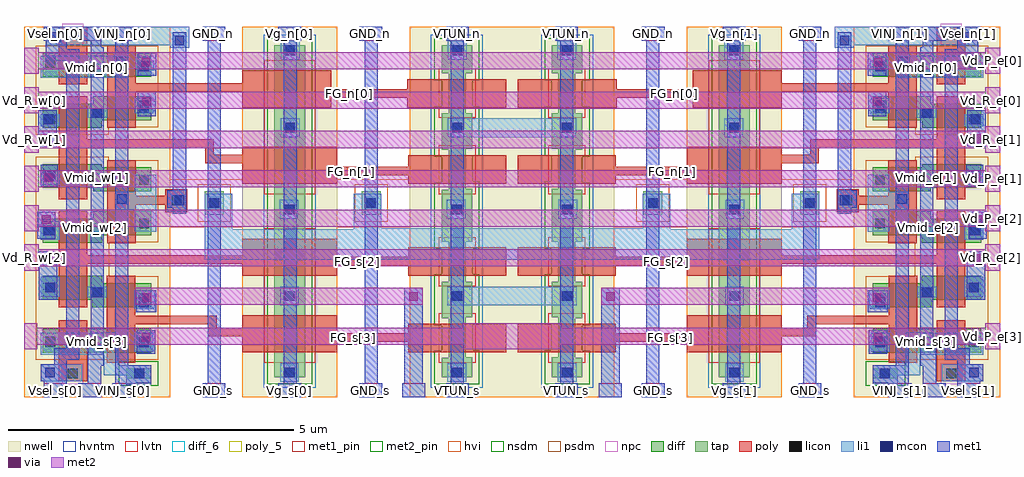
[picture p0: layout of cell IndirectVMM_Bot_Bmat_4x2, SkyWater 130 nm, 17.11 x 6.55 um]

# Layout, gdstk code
import gdstk
lib = gdstk.Library(unit=1e-6, precision=1e-09)
def R(c, l, rs):  # rectangles x0, y0, x1, y1
    for r in rs: c.add(gdstk.rectangle(r[:2], r[2:], *l))
def A(c, l, x, y, w, h, nx, ny, dx, dy):  # array of equal rectangles
    R(c, l, [(x+i*dx, y+j*dy, x+i*dx+w, y+j*dy+h) for i in range(nx) for j in range(ny)])
nwell = (64, 20)
diff_6 = (65, 6)
diff = (65, 20)
tap = (65, 44)
poly_5 = (66, 5)
poly = (66, 20)
licon = (66, 44)
li1 = (67, 20)
mcon = (67, 44)
met1_pin = (68, 16)
met1 = (68, 20)
via = (68, 44)
met2_pin = (69, 16)
met2 = (69, 20)
hvi = (75, 20)
nsdm = (93, 44)
psdm = (94, 20)
npc = (95, 20)
hvntm = (125, 20)
lvtn = (125, 44)

indirectvmm_bot_bmat_4x2 = lib.new_cell('IndirectVMM_Bot_Bmat_4x2')
R(indirectvmm_bot_bmat_4x2, nwell, [(-0.03,0.01,2.53,6.51), (3.8,0.01,5.46,6.51), (6.73,0.01,10.32,6.51), (11.59,0.01,13.25,6.51), (14.52,0.01,17.08,6.51)])
R(indirectvmm_bot_bmat_4x2, diff_6, [(1.18,0.91,1.32,1.06), (15.73,0.91,15.87,1.06), (1.16,2.91,1.3,3.06), (15.75,2.91,15.89,3.06), (1.18,3.78,1.32,3.93), (15.73,3.78,15.87,3.93), (1.18,5.71,1.32,5.86), (15.73,5.71,15.87,5.86)])
R(indirectvmm_bot_bmat_4x2, diff, [(0.3,0.79,2.2,1.21), (14.85,0.79,16.75,1.21), (1.17,1.59,2.2,1.72), (14.85,1.59,15.88,1.72), (0.3,1.72,2.2,2.01), (14.85,1.72,16.75,2.01), (0.3,2.01,1.34,2.14), (15.71,2.01,16.75,2.14), (0.3,2.72,1.34,2.85), (15.71,2.72,16.75,2.85), (0.3,2.85,2.2,3.14), (14.85,2.85,16.75,3.14), (1.18,3.14,2.2,3.27), (14.85,3.14,15.87,3.27), (1.18,3.62,2.2,3.68), (14.85,3.62,15.87,3.68), (0.3,3.68,2.2,4.04), (14.85,3.68,16.75,4.04), (0.3,4.04,1.33,4.1), (15.72,4.04,16.75,4.1), (0.3,4.74,1.33,4.87), (15.72,4.74,16.75,4.87), (0.3,4.87,2.2,5.16), (14.85,4.87,16.75,5.16), (1.18,5.16,2.2,5.29), (14.85,5.16,15.87,5.29), (0.3,5.63,2.2,6.05), (14.85,5.63,16.75,6.05)])
R(indirectvmm_bot_bmat_4x2, tap, [(1.76,0.34,2.2,0.52), (14.85,0.34,15.29,0.52), (4.36,0.36,4.9,6.18), (7.29,0.36,7.83,0.7), (9.22,0.36,9.76,0.7), (12.15,0.36,12.69,6.18), (7.42,0.7,7.83,0.71), (9.22,0.7,9.63,0.71), (7.42,0.71,7.71,1.4), (9.34,0.71,9.63,1.4), (7.29,1.4,7.71,1.41), (9.34,1.4,9.76,1.41), (7.29,1.41,7.83,2.04), (9.22,1.41,9.76,2.04), (7.42,2.04,7.71,2.74), (9.34,2.04,9.63,2.74), (7.29,2.74,7.83,3.65), (9.22,2.74,9.76,3.65), (3.14,3.21,3.47,3.62), (5.89,3.21,6.22,3.62), (10.83,3.21,11.16,3.62), (13.58,3.21,13.91,3.62), (7.42,3.65,7.83,3.67), (9.22,3.65,9.63,3.67), (7.42,3.67,7.71,4.35), (9.34,3.67,9.63,4.35), (7.29,4.35,7.71,4.37), (9.34,4.35,9.76,4.37), (7.29,4.37,7.83,4.99), (9.22,4.37,9.76,4.99), (7.42,4.99,7.71,5.69), (9.34,4.99,9.63,5.69), (7.29,5.69,7.83,6.18), (9.22,5.69,9.76,6.18)])
R(indirectvmm_bot_bmat_4x2, poly_5, [(5.67,0.98,5.81,1.13), (11.24,0.98,11.38,1.13), (5.74,2.32,5.88,2.47), (11.17,2.32,11.31,2.47), (5.64,3.9,5.78,4.05), (11.27,3.9,11.41,4.05), (5.61,5.26,5.75,5.41), (11.3,5.26,11.44,5.41)])
R(indirectvmm_bot_bmat_4x2, poly, [(0.58,0.29,1.08,1.36), (15.97,0.29,16.47,1.36), (1.42,0.62,1.92,1.29), (15.13,0.62,15.63,1.29), (3.8,0.8,5.46,0.98), (6.71,0.8,8.42,0.98), (8.63,0.8,10.34,0.98), (11.59,0.8,13.25,0.98), (3.8,0.98,8.42,1.08), (8.63,0.98,13.25,1.08), (3.19,1.08,8.42,1.13), (8.63,1.08,13.86,1.13), (3.19,1.13,5.46,1.23), (6.71,1.13,8.42,1.3), (8.63,1.13,10.34,1.3), (11.59,1.13,13.86,1.23), (3.19,1.23,3.35,1.29), (3.8,1.23,5.46,1.45), (11.59,1.23,13.25,1.45), (13.7,1.23,13.86,1.29), (1.42,1.29,3.35,1.44), (13.7,1.29,15.63,1.44), (1.42,1.44,1.92,2.14), (15.13,1.44,15.63,2.14), (0.58,1.59,1.08,2.35), (15.97,1.59,16.47,2.35), (3.8,2.14,5.46,2.32), (6.71,2.14,8.42,2.32), (8.63,2.14,10.34,2.32), (11.59,2.14,13.25,2.32), (3.8,2.32,8.42,2.35), (8.63,2.32,13.25,2.35), (0.58,2.35,8.42,2.47), (8.63,2.35,16.47,2.47), (0.58,2.47,5.46,2.5), (6.71,2.47,8.42,2.64), (8.63,2.47,10.34,2.64), (11.59,2.47,16.47,2.5), (0.58,2.5,1.08,3.27), (3.8,2.5,5.46,2.79), (11.59,2.5,13.25,2.79), (15.97,2.5,16.47,3.27), (1.43,2.71,1.93,3.39), (15.12,2.71,15.62,3.39), (2.45,3.25,2.83,3.39), (14.22,3.25,14.6,3.39), (1.43,3.39,2.83,3.54), (14.22,3.39,15.62,3.54), (0.58,3.48,1.08,4.38), (15.97,3.48,16.47,4.38), (1.43,3.54,1.93,4.17), (2.45,3.54,2.83,3.66), (14.22,3.54,14.6,3.66), (15.12,3.54,15.62,4.17), (3.8,3.75,5.46,3.9), (6.71,3.75,8.42,3.9), (8.63,3.75,10.34,3.9), (11.59,3.75,13.25,3.9), (3.8,3.9,8.42,4.05), (8.63,3.9,13.25,4.05), (3.8,4.05,5.46,4.11), (6.71,4.05,8.42,4.25), (8.63,4.05,10.34,4.25), (11.59,4.05,13.25,4.11), (3.15,4.11,5.46,4.26), (11.59,4.11,13.9,4.26), (3.15,4.26,3.3,4.38), (3.8,4.26,5.46,4.4), (11.59,4.26,13.25,4.4), (13.75,4.26,13.9,4.38), (0.58,4.38,3.3,4.53), (13.75,4.38,16.47,4.53), (0.58,4.53,1.08,5.29), (15.97,4.53,16.47,5.29), (1.43,4.74,1.93,5.37), (15.12,4.74,15.62,5.37), (3.8,5.09,5.36,5.26), (6.69,5.09,8.42,5.26), (8.63,5.09,10.36,5.26), (11.69,5.09,13.25,5.26), (3.8,5.26,8.42,5.37), (8.63,5.26,13.25,5.37), (1.43,5.37,8.42,5.41), (8.63,5.37,15.62,5.41), (1.43,5.41,5.36,5.52), (6.69,5.41,8.42,5.59), (8.63,5.41,10.36,5.59), (11.69,5.41,15.62,5.52), (0.58,5.5,1.08,6.51), (15.97,5.5,16.47,6.51), (1.43,5.52,1.93,6.18), (3.8,5.52,5.36,5.74), (11.69,5.52,13.25,5.74), (15.12,5.52,15.62,6.18)])
R(indirectvmm_bot_bmat_4x2, licon, [(0.74,0.34,0.91,0.51), (1.905,0.34,2.075,0.51), (14.975,0.34,15.145,0.51), (16.14,0.34,16.31,0.51), (4.54,0.36,4.71,0.53), (7.47,0.36,7.64,0.53), (9.41,0.36,9.58,0.53), (12.34,0.36,12.51,0.53), (1.985,0.89,2.155,1.06), (14.895,0.89,15.065,1.06), (0.345,0.9,0.515,1.07), (16.535,0.9,16.705,1.07), (1.985,1.66,2.155,1.83), (14.895,1.66,15.065,1.83), (4.54,1.7,4.71,1.87), (7.47,1.7,7.64,1.87), (9.41,1.7,9.58,1.87), (12.34,1.7,12.51,1.87), (1.165,1.76,1.335,1.93), (15.715,1.76,15.885,1.93), (0.345,1.85,0.515,2.02), (16.535,1.85,16.705,2.02), (0.345,2.85,0.515,3.02), (16.535,2.85,16.705,3.02), (1.99,2.97,2.16,3.14), (14.89,2.97,15.06,3.14), (4.53,3.22,4.7,3.39), (7.46,3.22,7.63,3.39), (9.42,3.22,9.59,3.39), (12.35,3.22,12.52,3.39), (3.22,3.33,3.39,3.5), (5.97,3.33,6.14,3.5), (10.91,3.33,11.08,3.5), (13.66,3.33,13.83,3.5), (2.56,3.38,2.73,3.55), (14.32,3.38,14.49,3.55), (1.99,3.74,2.16,3.91), (14.89,3.74,15.06,3.91), (0.345,3.82,0.515,3.99), (16.535,3.82,16.705,3.99), (4.55,4.65,4.72,4.82), (7.48,4.65,7.65,4.82), (9.4,4.65,9.57,4.82), (12.33,4.65,12.5,4.82), (0.345,4.8,0.515,4.97), (16.535,4.8,16.705,4.97), (1.165,4.91,1.335,5.08), (15.715,4.91,15.885,5.08), (1.99,4.99,2.16,5.16), (14.89,4.99,15.06,5.16), (1.99,5.73,2.16,5.9), (14.89,5.73,15.06,5.9), (0.345,5.79,0.515,5.96), (16.535,5.79,16.705,5.96), (4.55,6.01,4.72,6.18), (7.48,6.01,7.65,6.18), (9.4,6.01,9.57,6.18), (12.33,6.01,12.5,6.18), (0.74,6.29,0.91,6.46), (16.14,6.29,16.31,6.46)])
R(indirectvmm_bot_bmat_4x2, li1, [(1.76,0.23,2.2,0.4), (14.85,0.23,15.29,0.4), (4.46,0.28,4.79,0.61), (7.39,0.28,7.72,0.61), (9.33,0.28,9.66,0.61), (12.26,0.28,12.59,0.61), (0.26,0.29,0.99,0.59), (16.06,0.29,16.79,0.59), (1.37,0.4,2.2,0.57), (14.85,0.4,15.68,0.57), (1.37,0.57,1.62,0.76), (15.43,0.57,15.68,0.76), (0.26,0.76,1.62,1.14), (15.43,0.76,16.79,1.14), (1.9,0.81,2.24,1.14), (14.81,0.81,15.15,1.14), (1.37,1.14,1.62,1.15), (15.43,1.14,15.68,1.15), (1.9,1.56,2.25,1.59), (14.8,1.56,15.15,1.59), (1.9,1.59,2.26,1.89), (14.79,1.59,15.15,1.89), (4.46,1.62,4.79,1.95), (7.39,1.62,9.66,1.95), (12.26,1.62,12.59,1.95), (1.08,1.76,1.42,1.95), (15.63,1.76,15.97,1.95), (0.26,1.77,0.6,2.12), (16.45,1.77,16.79,2.12), (3.14,2.42,13.91,2.96), (0.26,2.77,0.6,3.1), (16.45,2.77,16.79,3.1), (1.91,2.91,2.29,3.3), (14.76,2.91,15.14,3.3), (3.14,2.96,3.62,3.58), (5.75,2.96,11.3,2.97), (13.43,2.96,13.91,3.58), (5.75,2.97,6.23,3.58), (10.82,2.97,11.3,3.58), (4.45,3.14,4.78,3.47), (7.38,3.14,7.71,3.47), (9.34,3.14,9.67,3.47), (12.27,3.14,12.6,3.47), (2.48,3.26,2.81,3.64), (14.24,3.26,14.57,3.64), (1.57,3.3,2.29,3.61), (14.76,3.3,15.48,3.61), (1.91,3.61,2.29,3.91), (14.76,3.61,15.14,3.91), (0.26,3.74,0.6,3.99), (16.45,3.74,16.79,3.99), (4.47,4.57,4.8,4.9), (7.4,4.57,9.65,4.9), (12.25,4.57,12.58,4.9), (0.26,4.76,0.6,4.97), (16.45,4.76,16.79,4.97), (1.08,4.91,1.43,5.08), (15.62,4.91,15.97,5.08), (1.91,4.99,2.24,5.03), (14.81,4.99,15.14,5.03), (1.91,5.03,2.28,5.2), (14.77,5.03,15.14,5.2), (1.91,5.2,2.24,5.25), (14.81,5.2,15.14,5.25), (0.26,5.61,1.76,6), (15.29,5.61,16.79,6), (1.93,5.65,2.2,5.74), (14.85,5.65,15.12,5.74), (1.93,5.74,2.25,5.91), (14.8,5.74,15.12,5.91), (1.93,5.91,2.2,5.98), (14.85,5.91,15.12,5.98), (4.47,5.93,4.8,6.26), (7.4,5.93,7.73,6.26), (9.32,5.93,9.65,6.26), (12.25,5.93,12.58,6.26), (2.53,6.14,2.87,6.18), (14.18,6.14,14.52,6.18), (0.36,6.18,2.87,6.51), (14.18,6.18,16.69,6.51)])
R(indirectvmm_bot_bmat_4x2, mcon, [(1.905,0.34,2.075,0.51), (14.975,0.34,15.145,0.51), (0.34,0.36,0.51,0.53), (4.55,0.36,4.72,0.53), (7.48,0.36,7.65,0.53), (9.4,0.36,9.57,0.53), (12.33,0.36,12.5,0.53), (16.54,0.36,16.71,0.53), (1.985,0.9,2.155,1.07), (14.895,0.9,15.065,1.07), (1.985,1.59,2.155,1.76), (14.895,1.59,15.065,1.76), (4.55,1.7,4.72,1.87), (7.48,1.7,7.65,1.87), (9.4,1.7,9.57,1.87), (12.33,1.7,12.5,1.87), (1.17,1.76,1.34,1.93), (15.71,1.76,15.88,1.93), (0.345,1.85,0.515,2.02), (16.535,1.85,16.705,2.02), (0.32,2.85,0.49,3.02), (16.56,2.85,16.73,3.02), (4.55,3.22,4.72,3.39), (7.48,3.22,7.65,3.39), (9.4,3.22,9.57,3.39), (12.33,3.22,12.5,3.39), (3.22,3.33,3.39,3.5), (5.97,3.33,6.14,3.5), (10.91,3.33,11.08,3.5), (13.66,3.33,13.83,3.5), (2.61,3.38,2.78,3.55), (14.27,3.38,14.44,3.55), (1.6,3.4,1.77,3.57), (15.28,3.4,15.45,3.57), (0.33,3.81,0.5,3.98), (16.55,3.81,16.72,3.98), (4.55,4.65,4.72,4.82), (7.48,4.65,7.65,4.82), (9.4,4.65,9.57,4.82), (12.33,4.65,12.5,4.82), (0.315,4.8,0.485,4.97), (16.565,4.8,16.735,4.97), (1.17,4.91,1.34,5.08), (15.71,4.91,15.88,5.08), (1.99,5.04,2.16,5.21), (14.89,5.04,15.06,5.21), (1.99,5.73,2.16,5.9), (14.89,5.73,15.06,5.9), (1.59,5.81,1.76,5.98), (15.29,5.81,15.46,5.98), (4.55,6.01,4.72,6.18), (7.48,6.01,7.65,6.18), (9.4,6.01,9.57,6.18), (12.33,6.01,12.5,6.18), (2.61,6.18,2.78,6.35), (14.27,6.18,14.44,6.35), (0.45,6.24,0.62,6.41), (16.43,6.24,16.6,6.41)])
R(indirectvmm_bot_bmat_4x2, met1_pin, [(0.32,0.01,0.72,0.26), (0.32,0.01,0.72,0.26), (0.92,0.01,1.32,0.26), (0.92,0.01,1.32,0.26), (1.52,0.01,1.92,0.26), (1.52,0.01,1.92,0.26), (3.1,0.01,3.5,0.26), (4.43,0.01,4.83,0.26), (4.43,0.01,4.83,0.26), (5.85,0.01,6.25,0.26), (6.6,0.01,7,0.26), (7.37,0.01,7.77,0.26), (9.28,0.01,9.68,0.26), (10.05,0.01,10.45,0.26), (10.8,0.01,11.2,0.26), (12.22,0.01,12.62,0.26), (12.22,0.01,12.62,0.26), (13.55,0.01,13.95,0.26), (15.13,0.01,15.53,0.26), (15.13,0.01,15.53,0.26), (15.73,0.01,16.13,0.26), (15.73,0.01,16.13,0.26), (16.33,0.01,16.73,0.26), (16.33,0.01,16.73,0.26), (0.32,6.26,0.72,6.51), (0.32,6.26,0.72,6.51), (0.92,6.26,1.32,6.51), (0.92,6.26,1.32,6.51), (1.52,6.26,1.92,6.51), (1.52,6.26,1.92,6.51), (3.1,6.26,3.5,6.51), (4.43,6.26,4.83,6.51), (4.43,6.26,4.83,6.51), (5.85,6.26,6.25,6.51), (7.37,6.26,7.77,6.51), (9.28,6.26,9.68,6.51), (10.8,6.26,11.2,6.51), (12.22,6.26,12.62,6.51), (12.22,6.26,12.62,6.51), (13.55,6.26,13.95,6.51), (15.13,6.26,15.53,6.51), (15.13,6.26,15.53,6.51), (15.73,6.26,16.13,6.51), (15.73,6.26,16.13,6.51), (16.33,6.26,16.73,6.51), (16.33,6.26,16.73,6.51)])
A(indirectvmm_bot_bmat_4x2, met1, 0.32, 6.26, 0.4, 0.25, 3, 1, 0.6, 0)
A(indirectvmm_bot_bmat_4x2, met1, 15.13, 6.26, 0.4, 0.25, 3, 1, 0.6, 0)
R(indirectvmm_bot_bmat_4x2, met1, [(0.32,0.01,0.72,0.29), (0.92,0.01,1.32,0.26), (1.52,0.01,1.92,0.26), (3.1,0.01,3.5,0.26), (4.43,0.01,4.83,0.26), (5.85,0.01,6.25,0.26), (6.6,0.01,7,0.26), (7.37,0.01,7.77,0.26), (9.28,0.01,9.68,0.26), (10.05,0.01,10.45,0.26), (10.8,0.01,11.2,0.26), (12.22,0.01,12.62,0.26), (13.55,0.01,13.95,0.26), (15.13,0.01,15.53,0.26), (15.73,0.01,16.13,0.26), (16.33,0.01,16.73,0.29), (1.09,0.26,1.32,0.56), (1.57,0.26,2.2,0.57), (3.19,0.26,3.42,6.26), (4.52,0.26,4.75,6.26), (5.94,0.26,6.17,6.26), (6.64,0.26,6.96,1.93), (7.45,0.26,7.68,6.26), (9.37,0.26,9.6,6.26), (10.09,0.26,10.41,1.93), (10.88,0.26,11.11,6.26), (12.3,0.26,12.53,6.26), (13.63,0.26,13.86,6.26), (14.85,0.26,15.48,0.57), (15.73,0.26,15.96,0.56), (0.26,0.29,0.72,0.59), (16.33,0.29,16.79,0.59), (1.09,0.56,1.37,0.94), (15.68,0.56,15.96,0.94), (1.57,0.57,1.8,5.75), (15.25,0.57,15.48,5.75), (0.5,0.59,0.72,0.67), (16.33,0.59,16.55,0.67), (0.5,0.67,0.94,0.87), (16.11,0.67,16.55,0.87), (1.95,0.77,2.27,1.19), (14.78,0.77,15.1,1.19), (0.71,0.87,0.94,5.91), (16.11,0.87,16.34,5.91), (1.14,0.94,1.37,6.15), (15.68,0.94,15.91,6.15), (1.94,1.5,2.29,1.89), (14.76,1.5,15.11,1.89), (0.23,1.72,0.55,2.57), (16.5,1.72,16.82,2.57), (0.2,2.79,0.52,3.26), (16.53,2.79,16.85,3.26), (2.58,3.23,2.81,3.33), (14.24,3.23,14.47,3.33), (2.48,3.33,2.81,3.64), (14.24,3.33,14.57,3.64), (2.58,3.64,2.81,6.41), (14.24,3.64,14.47,6.41), (0.26,3.7,0.56,4.09), (16.49,3.7,16.79,4.09), (0.22,4.41,0.54,5.04), (16.51,4.41,16.83,5.04), (1.96,4.94,2.28,5.37), (14.77,4.94,15.09,5.37), (1.96,5.65,2.29,6.05), (14.76,5.65,15.09,6.05), (1.55,5.75,1.8,6.02), (15.25,5.75,15.5,6.02), (0.35,5.91,0.94,6.11), (16.11,5.91,16.7,6.11), (1.57,6.02,1.8,6.26), (15.25,6.02,15.48,6.26), (0.35,6.11,0.72,6.26), (16.33,6.11,16.7,6.26), (1.14,6.15,1.32,6.26), (15.73,6.15,15.91,6.26), (3.1,6.26,3.5,6.51), (4.43,6.26,4.83,6.51), (5.85,6.26,6.25,6.51), (7.37,6.26,7.77,6.51), (9.28,6.26,9.68,6.51), (10.8,6.26,11.2,6.51), (12.22,6.26,12.62,6.51), (13.55,6.26,13.95,6.51)])
R(indirectvmm_bot_bmat_4x2, via, [(2.035,0.985,2.185,1.135), (14.865,0.985,15.015,1.135), (2.055,1.685,2.205,1.835), (14.845,1.685,14.995,1.835), (6.725,1.705,6.875,1.855), (10.175,1.705,10.325,1.855), (0.315,2.365,0.465,2.515), (16.585,2.365,16.735,2.515), (0.285,3.055,0.435,3.205), (16.615,3.055,16.765,3.205), (0.325,3.785,0.475,3.935), (16.575,3.785,16.725,3.935), (0.305,4.475,0.455,4.625), (16.595,4.475,16.745,4.625), (2.045,5.125,2.195,5.275), (14.855,5.125,15.005,5.275), (2.035,5.815,2.185,5.965), (14.865,5.815,15.015,5.965)])
A(indirectvmm_bot_bmat_4x2, met2_pin, -0.03, 2.23, 0.26, 0.46, 1, 6, 0, 0.69)
A(indirectvmm_bot_bmat_4x2, met2_pin, 16.82, 2.23, 0.26, 0.46, 1, 6, 0, 0.69)
R(indirectvmm_bot_bmat_4x2, met2_pin, [(-0.03,0.85,0.2,1.31), (16.82,0.85,17.08,1.31), (16.85,0.85,17.08,1.31)])
A(indirectvmm_bot_bmat_4x2, met2, -0.03, 2.31, 17.11, 0.3, 1, 6, 0, 0.69)
R(indirectvmm_bot_bmat_4x2, met2, [(-0.03,0.85,0.2,0.93), (7.66,0.85,9.39,0.93), (16.82,0.85,17.08,0.93), (-0.03,0.93,17.08,1.23), (-0.03,1.23,0.2,1.31), (7.65,1.23,9.4,1.31), (16.82,1.23,17.08,1.31), (1.92,1.63,6.96,1.93), (10.09,1.63,15.14,1.93), (-0.03,2.23,0.23,2.31), (16.82,2.23,17.08,2.31), (-0.03,2.61,0.23,2.69), (16.82,2.61,17.08,2.69), (-0.03,2.92,0.23,3), (16.82,2.92,17.08,3), (-0.03,3.3,0.23,3.38), (16.82,3.3,17.08,3.38), (-0.03,3.61,0.23,3.69), (16.82,3.61,17.08,3.69), (-0.03,3.99,0.23,4.07), (16.82,3.99,17.08,4.07), (-0.03,4.3,0.23,4.38), (16.82,4.3,17.08,4.38), (-0.03,4.68,0.23,4.76), (16.82,4.68,17.08,4.76), (-0.03,4.99,0.23,5.07), (16.82,4.99,17.08,5.07), (-0.03,5.37,0.23,5.45), (16.82,5.37,17.08,5.45), (-0.03,5.68,0.23,5.76), (16.82,5.68,17.08,5.76), (-0.03,6.06,0.23,6.14), (16.82,6.06,17.08,6.14)])
R(indirectvmm_bot_bmat_4x2, hvi, [(-0.03,0.01,2.53,2.995), (3.8,0.01,5.46,2.995), (6.73,0.01,10.32,2.995), (11.59,0.01,13.25,2.995), (14.52,0.01,17.08,2.995), (-0.03,2.995,17.08,3.835), (-0.03,3.835,2.53,6.51), (3.8,3.835,5.46,6.51), (6.73,3.835,10.32,6.51), (11.59,3.835,13.25,6.51), (14.52,3.835,17.08,6.51)])
R(indirectvmm_bot_bmat_4x2, nsdm, [(1.635,0.215,2.325,0.645), (14.725,0.215,15.415,0.645), (4.235,0.235,5.025,6.305), (7.165,0.235,7.955,0.825), (9.095,0.235,9.885,0.825), (12.025,0.235,12.815,6.305), (7.295,0.825,7.955,0.835), (9.095,0.825,9.755,0.835), (7.295,0.835,7.835,1.275), (9.215,0.835,9.755,1.275), (7.165,1.275,7.835,1.285), (9.215,1.275,9.885,1.285), (7.165,1.285,7.955,2.165), (9.095,1.285,9.885,2.165), (7.295,2.165,7.835,2.615), (9.215,2.165,9.755,2.615), (7.165,2.615,7.955,3.775), (9.095,2.615,9.885,3.775), (7.295,3.775,7.955,3.795), (9.095,3.775,9.755,3.795), (7.295,3.795,7.835,4.225), (9.215,3.795,9.755,4.225), (7.165,4.225,7.835,4.245), (9.215,4.225,9.885,4.245), (7.165,4.245,7.955,5.115), (9.095,4.245,9.885,5.115), (7.295,5.115,7.835,5.565), (9.215,5.115,9.755,5.565), (7.165,5.565,7.955,6.305), (9.095,5.565,9.885,6.305)])
R(indirectvmm_bot_bmat_4x2, psdm, [(0.175,0.665,2.325,2.135), (14.725,0.665,16.875,2.135), (0.175,2.135,1.465,2.725), (15.585,2.135,16.875,2.725), (0.175,2.725,2.325,4.165), (14.725,2.725,16.875,4.165), (3.015,3.085,3.595,3.745), (5.765,3.085,6.345,3.745), (10.705,3.085,11.285,3.745), (13.455,3.085,14.035,3.745), (0.175,4.165,1.455,4.225), (15.595,4.165,16.875,4.225), (0.175,4.615,1.455,4.745), (15.595,4.615,16.875,4.745), (0.175,4.745,2.325,6.175), (14.725,4.745,16.875,6.175)])
R(indirectvmm_bot_bmat_4x2, npc, [(0.64,0.24,1.01,0.61), (16.04,0.24,16.41,0.61), (2.46,3.28,2.83,3.65), (14.22,3.28,14.59,3.65), (0.64,6.19,1.01,6.56), (16.04,6.19,16.41,6.56)])
R(indirectvmm_bot_bmat_4x2, hvntm, [(4.175,0.175,5.085,6.365), (7.105,0.175,8.015,6.365), (9.035,0.175,9.945,6.365), (11.965,0.175,12.875,6.365)])
R(indirectvmm_bot_bmat_4x2, lvtn, [(4.18,0.62,5.08,2.97), (7.24,0.62,7.89,1.48), (9.16,0.62,9.81,1.48), (11.97,0.62,12.87,2.97), (7.24,1.96,7.89,2.82), (9.16,1.96,9.81,2.82), (4.18,3.57,5.08,5.92), (7.24,3.57,7.89,4.43), (9.16,3.57,9.81,4.43), (11.97,3.57,12.87,5.92), (7.24,4.91,7.89,5.77), (9.16,4.91,9.81,5.77)])
indirectvmm_bot_bmat_4x2.add(gdstk.Label('FG_n[0]', (5.68,5.335), layer=66, texttype=5))
indirectvmm_bot_bmat_4x2.add(gdstk.Label('FG_n[1]', (5.71,3.975), layer=66, texttype=5))
indirectvmm_bot_bmat_4x2.add(gdstk.Label('FG_s[2]', (5.81,2.395), layer=66, texttype=5))
indirectvmm_bot_bmat_4x2.add(gdstk.Label('FG_s[3]', (5.74,1.055), layer=66, texttype=5))
indirectvmm_bot_bmat_4x2.add(gdstk.Label('Vmid_n[0]', (1.25,5.785), layer=65, texttype=6))
indirectvmm_bot_bmat_4x2.add(gdstk.Label('Vmid_w[1]', (1.25,3.855), layer=65, texttype=6))
indirectvmm_bot_bmat_4x2.add(gdstk.Label('Vmid_w[2]', (1.23,2.985), layer=65, texttype=6))
indirectvmm_bot_bmat_4x2.add(gdstk.Label('Vmid_s[3]', (1.25,0.985), layer=65, texttype=6))
indirectvmm_bot_bmat_4x2.add(gdstk.Label('FG_n[0]', (11.37,5.335), layer=66, texttype=5))
indirectvmm_bot_bmat_4x2.add(gdstk.Label('FG_n[1]', (11.34,3.975), layer=66, texttype=5))
indirectvmm_bot_bmat_4x2.add(gdstk.Label('FG_s[2]', (11.24,2.395), layer=66, texttype=5))
indirectvmm_bot_bmat_4x2.add(gdstk.Label('FG_s[3]', (11.31,1.055), layer=66, texttype=5))
indirectvmm_bot_bmat_4x2.add(gdstk.Label('Vmid_n[0]', (15.8,5.785), layer=65, texttype=6))
indirectvmm_bot_bmat_4x2.add(gdstk.Label('Vmid_e[1]', (15.8,3.855), layer=65, texttype=6))
indirectvmm_bot_bmat_4x2.add(gdstk.Label('Vmid_e[2]', (15.82,2.985), layer=65, texttype=6))
indirectvmm_bot_bmat_4x2.add(gdstk.Label('Vmid_s[3]', (15.8,0.985), layer=65, texttype=6))
indirectvmm_bot_bmat_4x2.add(gdstk.Label('Vsel_s[0]', (0.52,0.135), layer=68, texttype=5))
indirectvmm_bot_bmat_4x2.add(gdstk.Label('Vsel_n[0]', (0.52,6.385), layer=68, texttype=5))
indirectvmm_bot_bmat_4x2.add(gdstk.Label('Vs_s[0]', (1.12,0.135), layer=68, texttype=5))
indirectvmm_bot_bmat_4x2.add(gdstk.Label('Vs_n[0]', (1.12,6.385), layer=68, texttype=5))
indirectvmm_bot_bmat_4x2.add(gdstk.Label('VINJ_s[0]', (1.72,0.135), layer=68, texttype=5))
indirectvmm_bot_bmat_4x2.add(gdstk.Label('VINJ_n[0]', (1.72,6.385), layer=68, texttype=5))
indirectvmm_bot_bmat_4x2.add(gdstk.Label('Vg_s[0]', (4.63,0.135), layer=68, texttype=5))
indirectvmm_bot_bmat_4x2.add(gdstk.Label('Vg_n[0]', (4.63,6.385), layer=68, texttype=5))
indirectvmm_bot_bmat_4x2.add(gdstk.Label('Vg_s[1]', (12.42,0.135), layer=68, texttype=5))
indirectvmm_bot_bmat_4x2.add(gdstk.Label('Vg_n[1]', (12.42,6.385), layer=68, texttype=5))
indirectvmm_bot_bmat_4x2.add(gdstk.Label('VINJ_s[1]', (15.33,0.135), layer=68, texttype=5))
indirectvmm_bot_bmat_4x2.add(gdstk.Label('VINJ_n[1]', (15.33,6.385), layer=68, texttype=5))
indirectvmm_bot_bmat_4x2.add(gdstk.Label('Vs_s[1]', (15.93,0.135), layer=68, texttype=5))
indirectvmm_bot_bmat_4x2.add(gdstk.Label('Vs_n[1]', (15.93,6.385), layer=68, texttype=5))
indirectvmm_bot_bmat_4x2.add(gdstk.Label('Vsel_s[1]', (16.53,0.135), layer=68, texttype=5))
indirectvmm_bot_bmat_4x2.add(gdstk.Label('Vsel_n[1]', (16.53,6.385), layer=68, texttype=5))
indirectvmm_bot_bmat_4x2.add(gdstk.Label('Vd_P_e[3]', (16.95,1.08), layer=69, texttype=5))
indirectvmm_bot_bmat_4x2.add(gdstk.Label('Vd_P_e[3]', (16.965,1.08), layer=69, texttype=5))
indirectvmm_bot_bmat_4x2.add(gdstk.Label('Vd_P_w[3]', (0.085,1.08), layer=69, texttype=5))
indirectvmm_bot_bmat_4x2.add(gdstk.Label('Vd_R_e[2]', (16.95,2.46), layer=69, texttype=5))
indirectvmm_bot_bmat_4x2.add(gdstk.Label('Vd_R_w[2]', (0.1,2.46), layer=69, texttype=5))
indirectvmm_bot_bmat_4x2.add(gdstk.Label('Vd_P_e[2]', (16.95,3.15), layer=69, texttype=5))
indirectvmm_bot_bmat_4x2.add(gdstk.Label('Vd_P_w[2]', (0.1,3.15), layer=69, texttype=5))
indirectvmm_bot_bmat_4x2.add(gdstk.Label('Vd_P_e[1]', (16.95,3.84), layer=69, texttype=5))
indirectvmm_bot_bmat_4x2.add(gdstk.Label('Vd_P_w[1]', (0.1,3.84), layer=69, texttype=5))
indirectvmm_bot_bmat_4x2.add(gdstk.Label('Vd_R_e[1]', (16.95,4.53), layer=69, texttype=5))
indirectvmm_bot_bmat_4x2.add(gdstk.Label('Vd_R_w[1]', (0.1,4.53), layer=69, texttype=5))
indirectvmm_bot_bmat_4x2.add(gdstk.Label('Vd_R_e[0]', (16.95,5.22), layer=69, texttype=5))
indirectvmm_bot_bmat_4x2.add(gdstk.Label('Vd_R_w[0]', (0.1,5.22), layer=69, texttype=5))
indirectvmm_bot_bmat_4x2.add(gdstk.Label('Vd_P_e[0]', (16.95,5.91), layer=69, texttype=5))
indirectvmm_bot_bmat_4x2.add(gdstk.Label('Vd_P_w[0]', (0.1,5.91), layer=69, texttype=5))
indirectvmm_bot_bmat_4x2.add(gdstk.Label('Vs_s', (15.93,0.135), layer=68, texttype=5))
indirectvmm_bot_bmat_4x2.add(gdstk.Label('Vs_n', (15.93,6.385), layer=68, texttype=5))
indirectvmm_bot_bmat_4x2.add(gdstk.Label('Vs_s', (1.12,0.135), layer=68, texttype=5))
indirectvmm_bot_bmat_4x2.add(gdstk.Label('Vs_n', (1.12,6.385), layer=68, texttype=5))
indirectvmm_bot_bmat_4x2.add(gdstk.Label('GND_s', (11,0.135), layer=68, texttype=5))
indirectvmm_bot_bmat_4x2.add(gdstk.Label('GND_s', (13.75,0.135), layer=68, texttype=5))
indirectvmm_bot_bmat_4x2.add(gdstk.Label('GND_n', (13.75,6.385), layer=68, texttype=5))
indirectvmm_bot_bmat_4x2.add(gdstk.Label('GND_n', (11,6.385), layer=68, texttype=5))
indirectvmm_bot_bmat_4x2.add(gdstk.Label('GND_s', (6.05,0.135), layer=68, texttype=5))
indirectvmm_bot_bmat_4x2.add(gdstk.Label('GND_s', (3.3,0.135), layer=68, texttype=5))
indirectvmm_bot_bmat_4x2.add(gdstk.Label('GND_n', (3.3,6.385), layer=68, texttype=5))
indirectvmm_bot_bmat_4x2.add(gdstk.Label('GND_n', (6.05,6.385), layer=68, texttype=5))
indirectvmm_bot_bmat_4x2.add(gdstk.Label('Vg_s', (12.42,0.135), layer=68, texttype=5))
indirectvmm_bot_bmat_4x2.add(gdstk.Label('Vg_n', (12.42,6.385), layer=68, texttype=5))
indirectvmm_bot_bmat_4x2.add(gdstk.Label('Vg_s', (4.63,0.135), layer=68, texttype=5))
indirectvmm_bot_bmat_4x2.add(gdstk.Label('Vg_n', (4.63,6.385), layer=68, texttype=5))
indirectvmm_bot_bmat_4x2.add(gdstk.Label('VTUN_s', (9.48,0.135), layer=68, texttype=5))
indirectvmm_bot_bmat_4x2.add(gdstk.Label('VTUN_n', (9.48,6.385), layer=68, texttype=5))
indirectvmm_bot_bmat_4x2.add(gdstk.Label('VTUN_s', (7.57,0.135), layer=68, texttype=5))
indirectvmm_bot_bmat_4x2.add(gdstk.Label('VTUN_n', (7.57,6.385), layer=68, texttype=5))
indirectvmm_bot_bmat_4x2.add(gdstk.Label('VINJ_s', (15.33,0.135), layer=68, texttype=5))
indirectvmm_bot_bmat_4x2.add(gdstk.Label('VINJ_n', (15.33,6.385), layer=68, texttype=5))
indirectvmm_bot_bmat_4x2.add(gdstk.Label('VINJ_s', (1.72,0.135), layer=68, texttype=5))
indirectvmm_bot_bmat_4x2.add(gdstk.Label('VINJ_n', (1.72,6.385), layer=68, texttype=5))
indirectvmm_bot_bmat_4x2.add(gdstk.Label('Vsel_s', (16.53,0.135), layer=68, texttype=5))
indirectvmm_bot_bmat_4x2.add(gdstk.Label('Vsel_n', (16.53,6.385), layer=68, texttype=5))
indirectvmm_bot_bmat_4x2.add(gdstk.Label('Vsel_s', (0.52,0.135), layer=68, texttype=5))
indirectvmm_bot_bmat_4x2.add(gdstk.Label('Vsel_n', (0.52,6.385), layer=68, texttype=5))
indirectvmm_bot_bmat_4x2.add(gdstk.Label('fg_mem_s[1]', (10.25,0.135), layer=68, texttype=5))
indirectvmm_bot_bmat_4x2.add(gdstk.Label('fg_mem_s[0]', (6.8,0.135), layer=68, texttype=5))

lib.write_gds('IndirectVMM_Bot_Bmat_4x2.gds')
